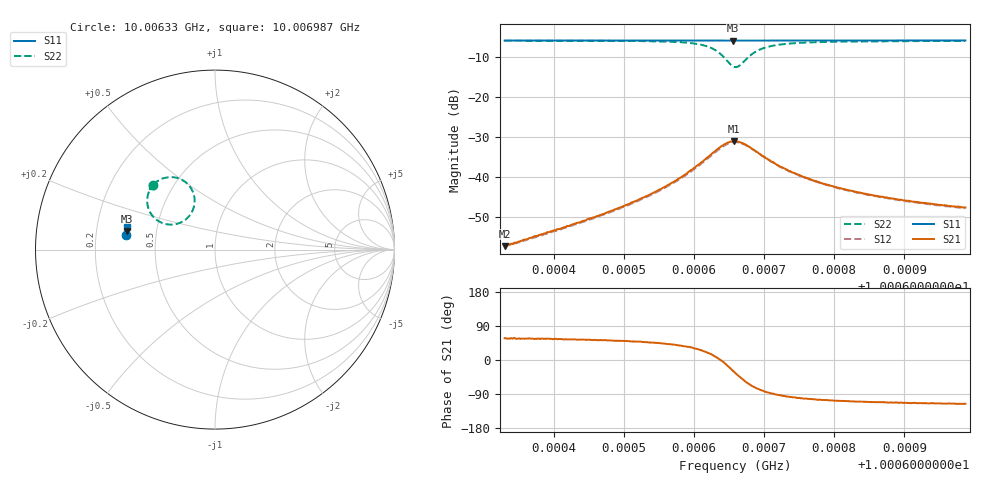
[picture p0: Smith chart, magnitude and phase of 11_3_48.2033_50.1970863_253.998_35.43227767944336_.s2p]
#  HZ  S  RI  R  50.00
! Rohde & Schwarz Vector Network Analyzer
! Rohde-Schwarz,ZNB20-2Port,1311601062101988,3.16
! Created: UTC 3/20/2024, 11:36:34 AM
! freq[Hz]  re:S11  im:S11  re:S21  im:S21  re:S12  im:S12  re:S22  im:S22
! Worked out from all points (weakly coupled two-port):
!   401 points, 10.00633 GHz to 10.006987 GHz, reference 50 ohm
!   highest |S21| = -31.10 dB at 10.006657 GHz (marker M1); lowest = -57.3 dB at 10.00633 GHz (marker M2)
!   lowest |S11| = -6.0 dB at 10.006655 GHz (marker M3), VSWR 3.00, Z = 16.8 + j4.65 ohm
!   |S11| at or under -10 dB: nowhere
!   |S22| runs from -12.6 to -6.0 dB; largest |S21 - S12| = 0.0025
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1.00063297e10  -0.4954 0.0835  0.000737 0.00116  0.00066 0.00119  -0.345 0.3623
1.00063922e10  -0.4948 0.0875  0.00114 0.0017  0.00102 0.00166  -0.3374 0.3692
1.00064398e10  -0.4943 0.0907  0.00165 0.00224  0.00149 0.00225  -0.3294 0.3755
1.00064924e10  -0.4936 0.0943  0.00259 0.00318  0.00237 0.00319  -0.316 0.3844
1.000655e10  -0.4927 0.0983  0.00488 0.00483  0.00457 0.00487  -0.2884 0.3972
1.00065861e10  -0.4922 0.1007  0.00849 0.00621  0.0079 0.00642  -0.2503 0.4039
1.0006619e10  -0.4908 0.103  0.0165 0.0058  0.0154 0.00658  -0.1776 0.385
1.00066305e10  -0.4903 0.1036  0.0209 0.00335  0.0199 0.00431  -0.1417 0.3534
1.0006642e10  -0.4896 0.1038  0.0249 -0.00243  0.0241 -0.000773  -0.1149 0.2931
1.00066486e10  -0.4894 0.1036  0.0258 -0.00753  0.0253 -0.00543  -0.1159 0.2459
1.00066551e10  -0.4891 0.1036  0.0245 -0.013  0.0248 -0.0106  -0.1353 0.1985
1.00066568e10  -0.4894 0.1036  0.024 -0.0142  0.0243 -0.0118  -0.1431 0.1879
1.00066584e10  -0.4893 0.1035  0.0232 -0.0154  0.0237 -0.0131  -0.1519 0.1781
1.0006665e10  -0.4896 0.1035  0.0195 -0.019  0.0204 -0.0171  -0.1944 0.1496
1.00066749e10  -0.49 0.1036  0.0127 -0.0213  0.0142 -0.0199  -0.2615 0.1403
1.00066864e10  -0.4904 0.1044  0.00663 -0.0203  0.00789 -0.0197  -0.3194 0.1615
1.00067011e10  -0.4909 0.1055  0.00199 -0.0174  0.00311 -0.0172  -0.357 0.2001
1.00067274e10  -0.4909 0.1076  -0.00112 -0.0129  -0.000405 -0.0127  -0.3765 0.2519
1.00067685e10  -0.4906 0.1105  -0.00208 -0.00878  -0.00162 -0.00884  -0.3758 0.2941
1.00068145e10  -0.4903 0.1137  -0.00218 -0.00665  -0.00184 -0.00664  -0.3695 0.3176
1.00068786e10  -0.4893 0.1179  -0.00206 -0.00502  -0.00175 -0.00503  -0.3614 0.3356
1.00069871e10  -0.4879 0.1247  -0.00178 -0.00375  -0.00159 -0.00373  -0.3508 0.3523
